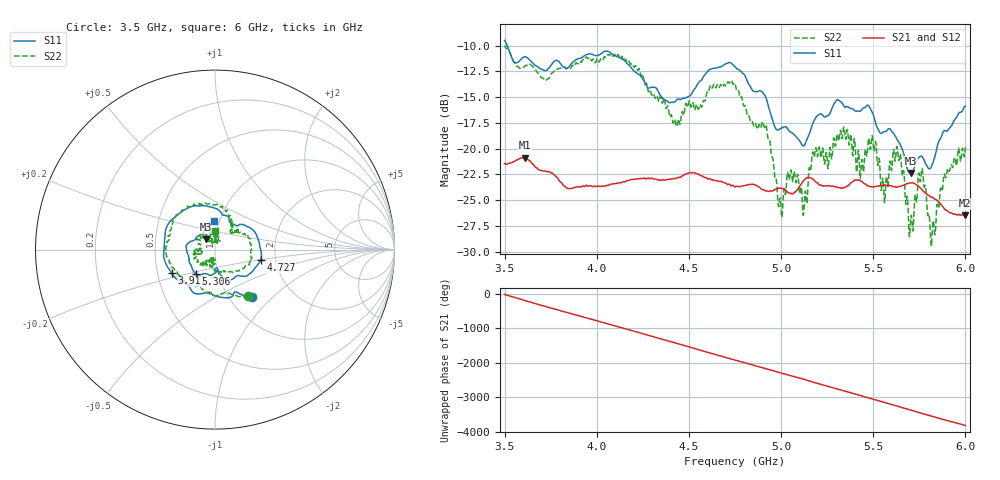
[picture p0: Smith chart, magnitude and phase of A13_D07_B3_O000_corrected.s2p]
! Created with skrf 1.9.0 (http://scikit-rf.org).
# Hz S RI R 50.0
!freq ReS11 ImS11 ReS21 ImS21 ReS12 ImS12 ReS22 ImS22
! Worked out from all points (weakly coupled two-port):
!   1601 points, 3.5 GHz to 6 GHz, reference 50 ohm
!   highest |S21| = -20.86 dB at 3.609 GHz (marker M1); lowest = -26.5 dB at 5.995 GHz (marker M2)
!   lowest |S11| = -22.4 dB at 5.706 GHz (marker M3), VSWR 1.17, Z = 44.9 + j5.13 ohm
!   |S11| at or under -10 dB: 3.514 GHz to end of sweep
!   |S22| runs from -29.5 to -10.0 dB; largest |S21 - S12| = 0.001
!   S11 on the Smith chart (normalised r, x): 3.5 GHz: 1.27, -0.76; 3.911 GHz: 0.59, -0.17; 4.727 GHz: 1.67, -0.21; 5.306 GHz: 0.78, -0.22; 6 GHz: 0.93, +0.31
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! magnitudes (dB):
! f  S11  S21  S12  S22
! 3.5 GHz  -9.5  -21.4  -21.4  -10.0
! 3.609 GHz  -11.1  -20.9  -20.9  -12.0
! 3.911 GHz  -11.2  -23.7  -23.7  -11.6
! 3.917 GHz  -11.2  -23.7  -23.7  -11.6
! 4.334 GHz  -14.5  -23.0  -23.0  -15.3
! 4.441 GHz  -15.2  -22.8  -22.8  -17.2
! 4.727 GHz  -11.7  -23.6  -23.5  -13.4
! 4.75 GHz  -12.1  -23.7  -23.6  -13.7
! 4.912 GHz  -14.8  -24.1  -24.0  -17.9
! 4.995 GHz  -18.1  -23.8  -23.8  -24.8
! 5.045 GHz  -18.3  -24.3  -24.3  -22.9
! 5.13 GHz  -19.6  -23.0  -23.0  -24.3
! 5.167 GHz  -17.8  -22.9  -22.9  -20.8
! 5.306 GHz  -15.2  -23.8  -23.7  -18.6
! 5.584 GHz  -18.1  -23.6  -23.5  -22.6
! 5.638 GHz  -19.3  -23.7  -23.6  -21.0
! 5.706 GHz  -22.4  -23.3  -23.3  -26.5
! 5.756 GHz  -20.7  -23.8  -23.8  -23.2
! 5.823 GHz  -21.4  -24.7  -24.7  -27.3
! 5.894 GHz  -18.3  -25.9  -25.9  -22.8
! 5.995 GHz  -15.9  -26.5  -26.4  -20.7
! 6 GHz  -15.9  -26.5  -26.4  -19.9
